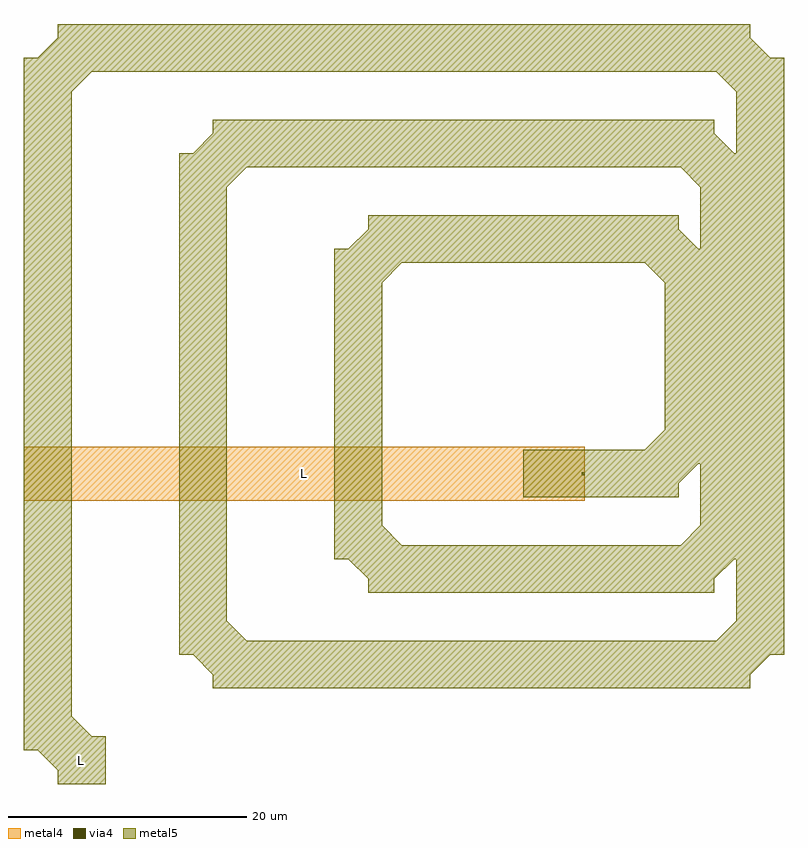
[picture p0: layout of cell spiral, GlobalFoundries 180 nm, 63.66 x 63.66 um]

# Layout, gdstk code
import gdstk
lib = gdstk.Library(unit=1e-6, precision=1e-09)
def R(c, l, rs):  # rectangles x0, y0, x1, y1
    for r in rs: c.add(gdstk.rectangle(r[:2], r[2:], *l))
def P(c, l, *ps):  # polygons
    for p in ps: c.add(gdstk.Polygon(p, *l))
via4 = (41, 0)
metal4 = (46, 0)
metal5 = (81, 0)

spiral = lib.new_cell('spiral')
R(spiral, via4, [(-0.13,-0.13,0.13,0.13)])
R(spiral, metal4, [(-46.83,-2.26,0.14,2.26), (-0.14,-0.26,0.14,0.26)])
R(spiral, metal5, [(-44,-26,-40,-22), (-46.83,-23.17,-42.83,34.83), (-31,-18,14,-14), (-33.83,-15.17,-29.83,26.83), (12.83,-15.17,16.83,34.83), (-18,-10,11,-6), (-20.83,-7.17,-16.83,18.83), (9.83,-7.17,13.83,26.83), (-5,-2,8,2), (-0.22,-0.64,0.22,0.64), (6.83,0.83,10.83,18.83), (-18,17.655,8,21.655), (-31,25.655,11,29.655), (-44,33.655,14,37.655)])
P(spiral, metal5, [(7.415,-1.415),(4.585,1.415),(7.415,4.245),(10.245,1.415)],
  [(7.415,15.415),(4.585,18.245),(7.415,21.07),(10.245,18.245)],
  [(-17.415,15.415),(-20.245,18.245),(-17.415,21.07),(-14.585,18.245)],
  [(-17.415,-9.415),(-20.245,-6.585),(-17.415,-3.755),(-14.585,-6.585)],
  [(10.415,-9.415),(7.585,-6.585),(10.415,-3.755),(13.245,-6.585)],
  [(10.415,23.415),(7.585,26.245),(10.415,29.07),(13.245,26.245)],
  [(-30.415,23.415),(-33.245,26.245),(-30.415,29.07),(-27.585,26.245)],
  [(-30.415,-17.415),(-33.245,-14.585),(-30.415,-11.755),(-27.585,-14.585)],
  [(13.415,-17.415),(10.585,-14.585),(13.415,-11.755),(16.245,-14.585)],
  [(13.415,31.415),(10.585,34.245),(13.415,37.07),(16.245,34.245)],
  [(-43.415,31.415),(-46.245,34.245),(-43.415,37.07),(-40.585,34.245)],
  [(-43.415,-25.415),(-46.245,-22.585),(-43.415,-19.755),(-40.585,-22.585)])
spiral.add(gdstk.Label('L', (-42,-24), layer=81, texttype=10))
spiral.add(gdstk.Label('L', (-23.345,0), layer=46, texttype=10))

lib.write_gds('spiral.gds')
